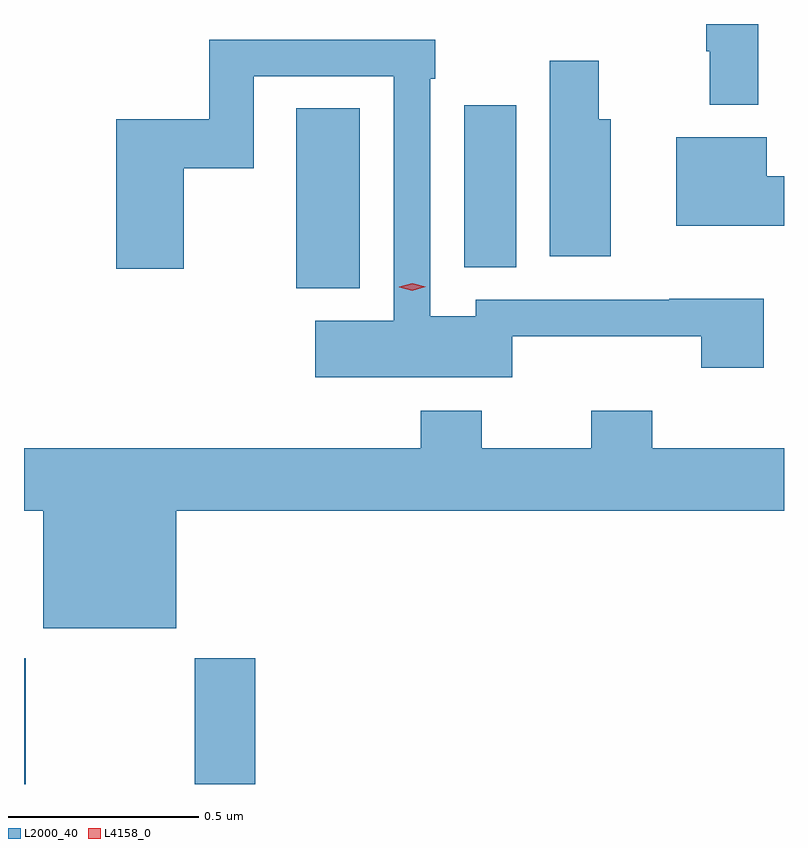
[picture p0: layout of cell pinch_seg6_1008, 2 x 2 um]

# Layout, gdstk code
import gdstk
lib = gdstk.Library(unit=1e-6, precision=1e-09)
def R(c, l, rs):  # rectangles x0, y0, x1, y1
    for r in rs: c.add(gdstk.rectangle(r[:2], r[2:], *l))
def P(c, l, *ps):  # polygons
    for p in ps: c.add(gdstk.Polygon(p, *l))
L2000_40 = (2000, 40)
L4158_0 = (4158, 0)

pinch_seg6_1008 = lib.new_cell('pinch_seg6_1008')
R(pinch_seg6_1008, L2000_40, [(306.725,917.313,306.729,917.644), (307.174,917.313,307.334,917.644), (307.442,918.617,307.609,919.091), (307.883,918.673,308.02,919.099)])
P(pinch_seg6_1008, L2000_40, [(308.657,919.313),(308.521,919.313),(308.521,919.241),(308.529,919.241),(308.529,919.101),(308.657,919.101)],
  [(308.01,918.491),(308.507,918.491),(308.507,918.408),(308.672,918.408),(308.672,918.59),(308.423,918.59),(308.423,918.588),(307.914,918.588),(307.914,918.544),(307.794,918.544),(307.794,919.169),(307.807,919.169),(307.807,919.272),(307.213,919.272),(307.213,919.063),(306.968,919.063),(306.968,918.669),(307.146,918.669),(307.146,918.934),(307.329,918.934),(307.329,919.176),(307.698,919.176),(307.698,918.532),(307.491,918.532),(307.491,918.383),(308.01,918.383)],
  [(308.269,919.063),(308.238,919.063),(308.238,919.216),(308.108,919.216),(308.108,918.702),(308.269,918.702)],
  [(308.725,918.912),(308.68,918.912),(308.68,919.015),(308.441,919.015),(308.441,918.782),(308.725,918.782)],
  [(307.126,918.032),(308.725,918.032),(308.725,918.196),(308.378,918.196),(308.378,918.295),(308.218,918.295),(308.218,918.196),(307.929,918.196),(307.929,918.295),(307.769,918.295),(307.769,918.196),(306.725,918.196),(306.725,918.032),(306.776,918.032),(306.776,917.723),(307.126,917.723)])
P(pinch_seg6_1008, L4158_0, [(307.747,918.611),(307.712,918.62),(307.712,918.62),(307.712,918.621),(307.747,918.631),(307.782,918.622),(307.782,918.622),(307.782,918.622)])

lib.write_gds('pinch_seg6_1008.gds')
